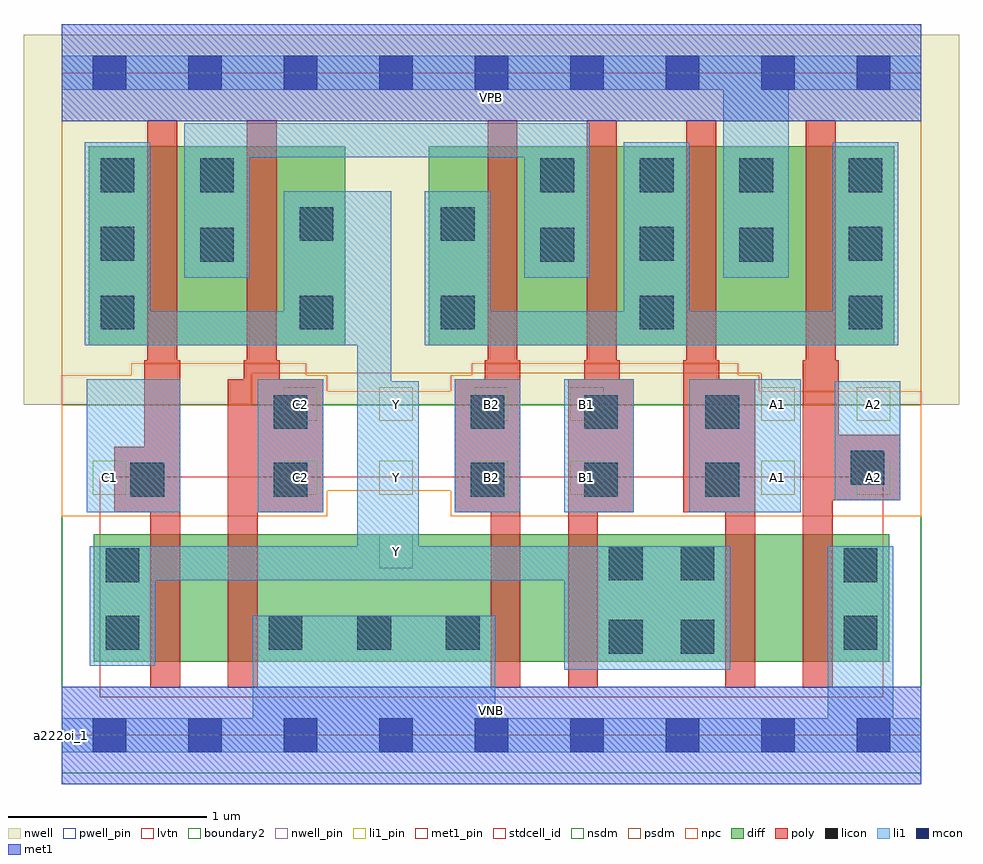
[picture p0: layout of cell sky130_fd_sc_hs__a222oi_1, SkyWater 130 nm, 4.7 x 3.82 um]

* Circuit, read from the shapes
.subckt sky130_fd_sc_hs__a222oi_1 A1 A2 B1 B2 C1 C2 VGND VNB VPB VPWR Y
XM1 n1 C1 Y VNB sky130_fd_pr__nfet_01v8_lvt w=0.64 l=0.15
XM2 VGND C2 n1 VNB sky130_fd_pr__nfet_01v8_lvt w=0.64 l=0.15
XM3 n2 B2 VGND VNB sky130_fd_pr__nfet_01v8_lvt w=0.64 l=0.15
XM4 Y B1 n2 VNB sky130_fd_pr__nfet_01v8_lvt w=0.64 l=0.15
XM5 n3 A1 Y VNB sky130_fd_pr__nfet_01v8_lvt w=0.64 l=0.15
XM6 VGND A2 n3 VNB sky130_fd_pr__nfet_01v8_lvt w=0.64 l=0.15
XM7 n4 C1 Y VPB sky130_fd_pr__pfet_01v8 w=1 l=0.15
XM8 Y C2 n4 VPB sky130_fd_pr__pfet_01v8 w=1 l=0.15
XM9 n4 B2 n5 VPB sky130_fd_pr__pfet_01v8 w=1 l=0.15
XM10 n5 B1 n4 VPB sky130_fd_pr__pfet_01v8 w=1 l=0.15
XM11 VPWR A1 n5 VPB sky130_fd_pr__pfet_01v8 w=1 l=0.15
XM12 n5 A2 VPWR VPB sky130_fd_pr__pfet_01v8 w=1 l=0.15
.ends

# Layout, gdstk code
import gdstk
lib = gdstk.Library(unit=1e-6, precision=1e-09)
def R(c, l, rs):  # rectangles x0, y0, x1, y1
    for r in rs: c.add(gdstk.rectangle(r[:2], r[2:], *l))
def A(c, l, x, y, w, h, nx, ny, dx, dy):  # array of equal rectangles
    R(c, l, [(x+i*dx, y+j*dy, x+i*dx+w, y+j*dy+h) for i in range(nx) for j in range(ny)])
def P(c, l, *ps):  # polygons
    for p in ps: c.add(gdstk.Polygon(p, *l))
nwell_pin = (64, 16)
nwell = (64, 20)
diff = (65, 20)
poly = (66, 20)
licon = (66, 44)
li1_pin = (67, 16)
li1 = (67, 20)
mcon = (67, 44)
met1_pin = (68, 16)
met1 = (68, 20)
stdcell_id = (81, 4)
nsdm = (93, 44)
psdm = (94, 20)
npc = (95, 20)
pwell_pin = (122, 16)
lvtn = (125, 44)
boundary2 = (236, 0)

sky130_fd_sc_hs__a222oi_ = lib.new_cell('sky130_fd_sc_hs__a222oi_1')
R(sky130_fd_sc_hs__a222oi_, nwell_pin, [(0,3.085,4.32,3.33)])
R(sky130_fd_sc_hs__a222oi_, nwell, [(-0.19,1.66,4.51,3.52)])
R(sky130_fd_sc_hs__a222oi_, diff, [(0.16,0.37,4.16,1.01), (0.135,1.96,1.425,2.96), (1.845,1.96,4.185,2.96)])
P(sky130_fd_sc_hs__a222oi_, poly, [(4.215,1.51),(3.905,1.51),(3.905,1.885),(3.89,1.885),(3.89,3.09),(3.74,3.09),(3.74,1.885),(3.725,1.885),(3.725,0.24),(3.875,0.24),(3.875,1.18),(4.215,1.18)],
  [(3.485,1.79),(3.305,1.79),(3.305,1.885),(3.29,1.885),(3.29,3.09),(3.14,3.09),(3.14,1.885),(3.125,1.885),(3.125,1.12),(3.335,1.12),(3.335,0.24),(3.485,0.24)],
  [(2.875,1.79),(2.805,1.79),(2.805,1.885),(2.79,1.885),(2.79,3.09),(2.64,3.09),(2.64,1.885),(2.625,1.885),(2.625,1.79),(2.545,1.79),(2.545,0.24),(2.695,0.24),(2.695,1.12),(2.875,1.12)],
  [(2.305,1.885),(2.29,1.885),(2.29,3.09),(2.14,3.09),(2.14,1.885),(2.125,1.885),(2.125,1.79),(1.975,1.79),(1.975,1.12),(2.155,1.12),(2.155,0.24),(2.305,0.24)],
  [(1.315,1.79),(1.095,1.79),(1.095,1.885),(1.08,1.885),(1.08,3.09),(0.93,3.09),(0.93,1.885),(0.915,1.885),(0.915,1.79),(0.835,1.79),(0.835,0.24),(0.985,0.24),(0.985,1.12),(1.315,1.12)],
  [(0.595,1.885),(0.58,1.885),(0.58,3.09),(0.43,3.09),(0.43,1.885),(0.415,1.885),(0.415,1.45),(0.265,1.45),(0.265,1.12),(0.445,1.12),(0.445,0.24),(0.595,0.24)])
A(sky130_fd_sc_hs__a222oi_, licon, 1.04, 0.43, 0.17, 0.17, 3, 1, 0.445, 0)
A(sky130_fd_sc_hs__a222oi_, licon, 0.195, 2.04, 0.17, 0.17, 1, 3, 0, 0.345)
A(sky130_fd_sc_hs__a222oi_, licon, 3.955, 2.04, 0.17, 0.17, 1, 3, 0, 0.345)
A(sky130_fd_sc_hs__a222oi_, licon, 2.405, 2.73, 0.17, 0.17, 3, 1, 0.5, 0)
R(sky130_fd_sc_hs__a222oi_, licon, [(2.75,0.41,2.92,0.58), (3.11,0.41,3.28,0.58), (0.22,0.43,0.39,0.6), (3.93,0.43,4.1,0.6), (0.22,0.77,0.39,0.94), (3.93,0.77,4.1,0.94), (2.75,0.78,2.92,0.95), (3.11,0.78,3.28,0.95), (0.345,1.2,0.515,1.37), (1.065,1.2,1.235,1.37), (2.055,1.2,2.225,1.37), (2.625,1.2,2.795,1.37), (3.235,1.2,3.405,1.37), (3.965,1.26,4.135,1.43), (1.065,1.54,1.235,1.71), (2.055,1.54,2.225,1.71), (2.625,1.54,2.795,1.71), (3.235,1.54,3.405,1.71), (1.195,2.04,1.365,2.21), (1.905,2.04,2.075,2.21), (2.905,2.04,3.075,2.21), (0.695,2.38,0.865,2.55), (2.405,2.38,2.575,2.55), (3.405,2.38,3.575,2.55), (2.905,2.385,3.075,2.555), (1.195,2.485,1.365,2.655), (1.905,2.485,2.075,2.655), (0.695,2.73,0.865,2.9)])
A(sky130_fd_sc_hs__a222oi_, li1_pin, 1.115, 1.21, 0.17, 0.17, 4, 2, 0.48, 0.37)
R(sky130_fd_sc_hs__a222oi_, li1_pin, [(1.595,0.84,1.765,1.01), (0.155,1.21,0.325,1.38), (3.515,1.21,3.685,1.38), (3.995,1.21,4.165,1.38), (3.515,1.58,3.685,1.75), (3.995,1.58,4.165,1.75)])
R(sky130_fd_sc_hs__a222oi_, li1, [(0.125,1.12,0.595,1.79), (0.985,1.12,1.315,1.79), (1.975,1.12,2.305,1.79), (2.525,1.12,2.875,1.79), (3.155,1.12,3.715,1.79), (3.885,1.18,4.215,1.78)])
P(sky130_fd_sc_hs__a222oi_, li1, [(3.325,2.3),(3.325,3.245),(0,3.245),(0,3.415),(4.32,3.415),(4.32,3.245),(3.655,3.245),(3.655,2.3)],
  [(3.85,0.085),(3.85,0.95),(4.18,0.95),(4.18,0.085),(4.32,0.085),(4.32,-0.085),(0,-0.085),(0,0.085),(0.96,0.085),(0.96,0.6),(2.18,0.6),(2.18,0.085)],
  [(2.525,0.33),(2.525,0.78),(0.47,0.78),(0.47,0.35),(0.14,0.35),(0.14,0.95),(1.485,0.95),(1.485,1.96),(0.115,1.96),(0.115,2.98),(0.445,2.98),(0.445,2.13),(1.115,2.13),(1.115,2.735),(1.655,2.735),(1.655,1.78),(1.795,1.78),(1.795,0.95),(3.36,0.95),(3.36,0.33)],
  [(2.825,2.13),(2.825,2.98),(3.155,2.98),(3.155,2.13),(3.875,2.13),(3.875,2.98),(4.205,2.98),(4.205,1.96),(1.825,1.96),(1.825,2.735),(2.155,2.735),(2.155,2.13)],
  [(2.325,2.3),(2.325,2.905),(0.945,2.905),(0.945,2.3),(0.615,2.3),(0.615,3.075),(2.655,3.075),(2.655,2.3)])
A(sky130_fd_sc_hs__a222oi_, mcon, 0.155, -0.085, 0.17, 0.17, 9, 2, 0.48, 3.33)
R(sky130_fd_sc_hs__a222oi_, met1_pin, [(0,0,4.32,0.245), (0,3.085,4.32,3.33)])
R(sky130_fd_sc_hs__a222oi_, met1, [(0,-0.245,4.32,0.245), (0,3.085,4.32,3.575)])
R(sky130_fd_sc_hs__a222oi_, stdcell_id, [(0,0,4.32,3.33)])
R(sky130_fd_sc_hs__a222oi_, nsdm, [(0,-0.19,4.32,1.66)])
P(sky130_fd_sc_hs__a222oi_, psdm, [(4.32,3.52),(0,3.52),(0,1.66),(0.955,1.66),(0.955,1.82),(3.515,1.82),(3.515,1.66),(4.32,1.66)])
P(sky130_fd_sc_hs__a222oi_, npc, [(4.32,1.73),(3.505,1.73),(3.505,1.81),(3.4,1.81),(3.4,1.87),(2.06,1.87),(2.06,1.81),(1.955,1.81),(1.955,1.73),(1.335,1.73),(1.335,1.81),(1.23,1.81),(1.23,1.87),(0.35,1.87),(0.35,1.81),(0,1.81),(0,1.1),(1.335,1.1),(1.335,1.23),(1.955,1.23),(1.955,1.1),(4.32,1.1)])
R(sky130_fd_sc_hs__a222oi_, pwell_pin, [(0,0,4.32,0.245)])
R(sky130_fd_sc_hs__a222oi_, lvtn, [(0.19,0.19,4.13,1.3)])
R(sky130_fd_sc_hs__a222oi_, boundary2, [(0,0,4.32,3.33)])
sky130_fd_sc_hs__a222oi_.add(gdstk.Label('a222oi_1', (0,0), layer=83, texttype=44))
sky130_fd_sc_hs__a222oi_.add(gdstk.Label('VNB', (2.16,0.123), layer=64, texttype=59))
sky130_fd_sc_hs__a222oi_.add(gdstk.Label('VPB', (2.16,3.208), layer=64, texttype=5))
sky130_fd_sc_hs__a222oi_.add(gdstk.Label('VPWR', (2.16,3.208), layer=68, texttype=5))
sky130_fd_sc_hs__a222oi_.add(gdstk.Label('VGND', (2.16,0.123), layer=68, texttype=5))
sky130_fd_sc_hs__a222oi_.add(gdstk.Label('C2', (1.2,1.295), layer=67, texttype=5))
sky130_fd_sc_hs__a222oi_.add(gdstk.Label('C2', (1.2,1.665), layer=67, texttype=5))
sky130_fd_sc_hs__a222oi_.add(gdstk.Label('C1', (0.24,1.295), layer=67, texttype=5))
sky130_fd_sc_hs__a222oi_.add(gdstk.Label('B1', (2.64,1.295), layer=67, texttype=5))
sky130_fd_sc_hs__a222oi_.add(gdstk.Label('B1', (2.64,1.665), layer=67, texttype=5))
sky130_fd_sc_hs__a222oi_.add(gdstk.Label('A2', (4.08,1.295), layer=67, texttype=5))
sky130_fd_sc_hs__a222oi_.add(gdstk.Label('A2', (4.08,1.665), layer=67, texttype=5))
sky130_fd_sc_hs__a222oi_.add(gdstk.Label('A1', (3.6,1.295), layer=67, texttype=5))
sky130_fd_sc_hs__a222oi_.add(gdstk.Label('A1', (3.6,1.665), layer=67, texttype=5))
sky130_fd_sc_hs__a222oi_.add(gdstk.Label('Y', (1.68,0.925), layer=67, texttype=5))
sky130_fd_sc_hs__a222oi_.add(gdstk.Label('Y', (1.68,1.295), layer=67, texttype=5))
sky130_fd_sc_hs__a222oi_.add(gdstk.Label('Y', (1.68,1.665), layer=67, texttype=5))
sky130_fd_sc_hs__a222oi_.add(gdstk.Label('B2', (2.16,1.295), layer=67, texttype=5))
sky130_fd_sc_hs__a222oi_.add(gdstk.Label('B2', (2.16,1.665), layer=67, texttype=5))

lib.write_gds('sky130_fd_sc_hs__a222oi_1.gds')
